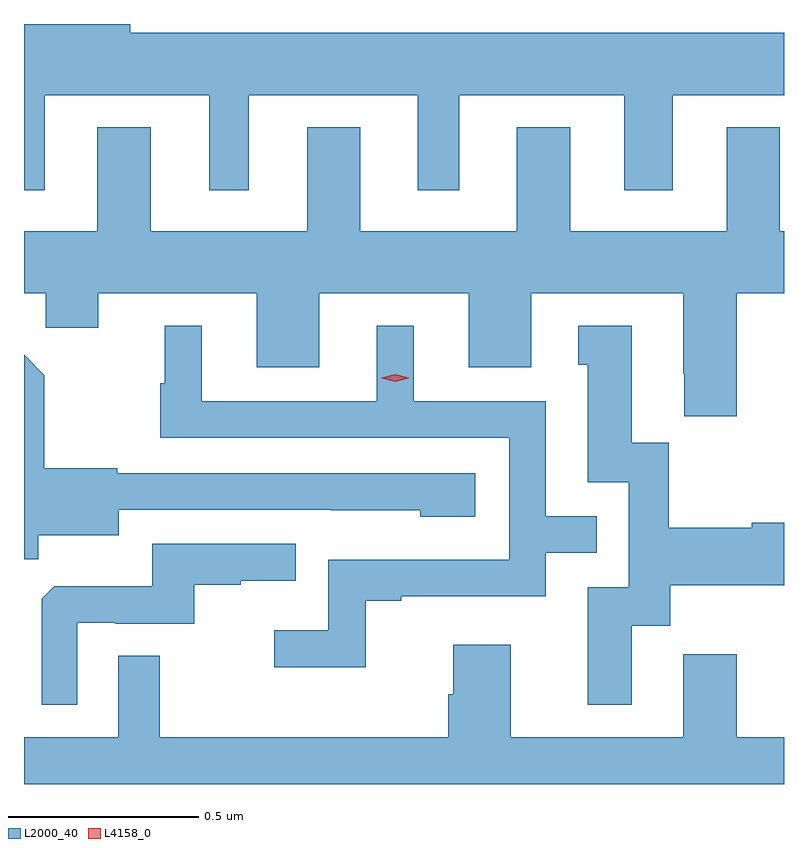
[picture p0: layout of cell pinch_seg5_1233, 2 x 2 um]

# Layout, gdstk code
import gdstk
lib = gdstk.Library(unit=1e-6, precision=1e-09)
def P(c, l, *ps):  # polygons
    for p in ps: c.add(gdstk.Polygon(p, *l))
L2000_40 = (2000, 40)
L4158_0 = (4158, 0)

pinch_seg5_1233 = lib.new_cell('pinch_seg5_1233')
P(pinch_seg5_1233, L2000_40, [(544.048,877.262),(544.481,877.262),(544.481,877.011),(544.585,877.011),(544.585,877.262),(545.03,877.262),(545.03,877.011),(545.14,877.011),(545.14,877.262),(545.573,877.262),(545.573,877.011),(545.701,877.011),(545.701,877.262),(545.994,877.262),(545.994,877.426),(544.273,877.426),(544.273,877.449),(543.994,877.449),(543.994,877.011),(544.048,877.011)],
  [(545.869,876.74),(545.994,876.74),(545.994,876.904),(545.983,876.904),(545.983,877.177),(545.843,877.177),(545.843,876.904),(545.431,876.904),(545.431,877.177),(545.291,877.177),(545.291,876.904),(544.879,876.904),(544.879,877.177),(544.739,877.177),(544.739,876.904),(544.327,876.904),(544.327,877.177),(544.187,877.177),(544.187,876.904),(543.994,876.904),(543.994,876.74),(544.051,876.74),(544.051,876.65),(544.189,876.65),(544.189,876.74),(544.607,876.74),(544.607,876.546),(544.771,876.546),(544.771,876.74),(545.165,876.74),(545.165,876.546),(545.329,876.546),(545.329,876.74),(545.729,876.74),(545.729,876.529),(545.732,876.529),(545.732,876.417),(545.869,876.417)],
  [(545.593,875.866),(545.695,875.866),(545.695,875.972),(545.994,875.972),(545.994,876.137),(545.909,876.137),(545.909,876.124),(545.691,876.124),(545.691,876.347),(545.593,876.347),(545.593,876.655),(545.453,876.655),(545.453,876.552),(545.477,876.552),(545.477,876.243),(545.586,876.243),(545.586,875.967),(545.477,875.967),(545.477,875.658),(545.593,875.658)],
  [(544.893,875.931),(544.987,875.931),(544.987,875.943),(545.367,875.943),(545.367,876.057),(545.501,876.057),(545.501,876.153),(545.367,876.153),(545.367,876.456),(545.02,876.456),(545.02,876.655),(544.922,876.655),(544.922,876.456),(544.462,876.456),(544.462,876.655),(544.364,876.655),(544.364,876.504),(544.353,876.504),(544.353,876.36),(545.271,876.36),(545.271,876.039),(544.794,876.039),(544.794,875.854),(544.653,875.854),(544.653,875.756),(544.893,875.756)],
  [(544.032,876.104),(544.243,876.104),(544.243,876.171),(544.801,876.171),(544.801,876.17),(545.037,876.17),(545.037,876.152),(545.182,876.152),(545.182,876.267),(544.239,876.267),(544.239,876.28),(544.047,876.28),(544.047,876.525),(543.994,876.578),(543.994,876.04),(544.032,876.04)],
  [(544.134,875.874),(544.234,875.874),(544.234,875.871),(544.442,875.871),(544.442,875.973),(544.565,875.973),(544.565,875.984),(544.709,875.984),(544.709,876.081),(544.332,876.081),(544.332,875.969),(544.073,875.969),(544.041,875.937),(544.041,875.657),(544.134,875.657)],
  [(545.994,875.572),(545.869,875.572),(545.869,875.791),(545.729,875.791),(545.729,875.572),(545.275,875.572),(545.275,875.815),(545.123,875.815),(545.123,875.685),(545.111,875.685),(545.111,875.572),(544.351,875.572),(544.351,875.786),(544.242,875.786),(544.242,875.572),(543.994,875.572),(543.994,875.449),(545.994,875.449)])
P(pinch_seg5_1233, L4158_0, [(544.971,876.507),(544.935,876.517),(544.935,876.517),(544.935,876.518),(544.971,876.527),(545.007,876.518),(545.007,876.517),(545.007,876.517)])

lib.write_gds('pinch_seg5_1233.gds')
